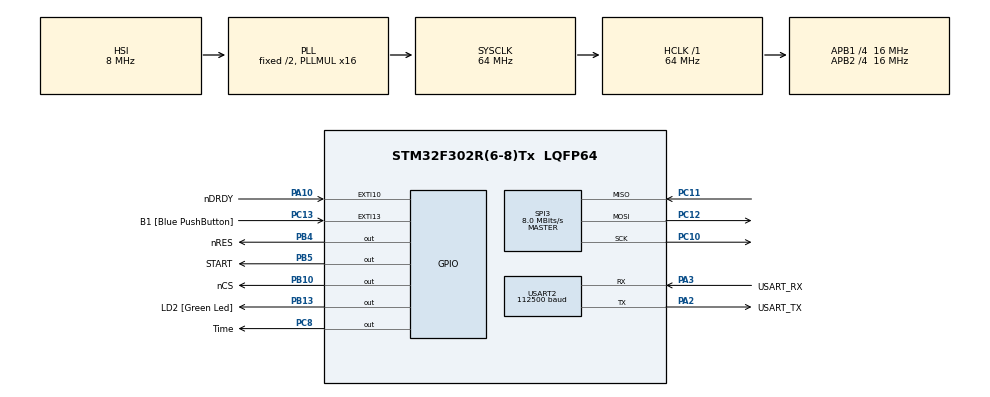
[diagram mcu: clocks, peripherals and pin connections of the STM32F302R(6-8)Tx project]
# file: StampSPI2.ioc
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FREERTOS.Tasks01=defaultTask,24,128,StartDefaultTask,Default,NULL,Dynamic,NULL,NULL
Mcu.Family=STM32F3
Mcu.Name=STM32F302R(6-8)Tx
Mcu.Package=LQFP64
NVIC.EXTI15_10_IRQn=true\:5\:0\:false\:false\:true\:true\:true\:true
NVIC.PriorityGroup=NVIC_PRIORITYGROUP_4
NVIC.SPI3_IRQn=true\:5\:0\:false\:false\:true\:true\:true\:true
NVIC.TIM1_UP_TIM16_IRQn=true\:0\:0\:false\:false\:true\:false\:false\:true
NVIC.TimeBase=TIM1_UP_TIM16_IRQn
NVIC.TimeBaseIP=TIM1
NVIC.USART2_IRQn=true\:5\:0\:false\:false\:true\:true\:true\:true
PA10.GPIO_Label=nDRDY
PA10.GPIO_ModeDefaultEXTI=GPIO_MODE_IT_FALLING
PA10.Signal=GPXTI10
PA13.GPIO_Label=TMS
PA13.Mode=Serial_Wire
PA13.Signal=SYS_JTMS-SWDIO
PA14.GPIO_Label=TCK
PA14.Mode=Serial_Wire
PA14.Signal=SYS_JTCK-SWCLK
PA2.GPIO_Label=USART_TX
PA2.GPIO_Mode=GPIO_MODE_AF_PP
PA2.GPIO_PuPd=GPIO_NOPULL
PA2.GPIO_Speed=GPIO_SPEED_FREQ_HIGH
PA2.Mode=Asynchronous
PA2.Signal=USART2_TX
PA3.GPIO_Label=USART_RX
PA3.GPIO_Mode=GPIO_MODE_AF_PP
PA3.GPIO_PuPd=GPIO_NOPULL
PA3.GPIO_Speed=GPIO_SPEED_FREQ_HIGH
PA3.Mode=Asynchronous
PA3.Signal=USART2_RX
PB10.GPIO_Label=nCS
PB10.GPIO_Speed=GPIO_SPEED_FREQ_HIGH
PB10.Signal=GPIO_Output
PB13.GPIO_Label=LD2 [Green Led]
PB13.Signal=GPIO_Output
PB3.GPIO_Label=SWO
PB3.Mode=Trace_Asynchronous_SW
PB3.Signal=SYS_JTDO-TRACESWO
PB4.GPIO_Label=nRES
PB4.GPIO_Speed=GPIO_SPEED_FREQ_HIGH
PB4.Signal=GPIO_Output
PB5.GPIO_Label=START
PB5.GPIO_Speed=GPIO_SPEED_FREQ_HIGH
PB5.Signal=GPIO_Output
PC10.Mode=Full_Duplex_Master
PC10.Signal=SPI3_SCK
PC11.Mode=Full_Duplex_Master
PC11.Signal=SPI3_MISO
PC12.Mode=Full_Duplex_Master
PC12.Signal=SPI3_MOSI
PC13.GPIO_Label=B1 [Blue PushButton]
PC13.GPIO_ModeDefaultEXTI=GPIO_MODE_IT_FALLING
PC13.Signal=GPXTI13
PC14\ -\ OSC32_IN.Mode=LSE-External-Oscillator
PC14\ -\ OSC32_IN.Signal=RCC_OSC32_IN
PC15\ -\ OSC32_OUT.Mode=LSE-External-Oscillator
PC15\ -\ OSC32_OUT.Signal=RCC_OSC32_OUT
PC8.GPIO_Label=Time
PC8.GPIO_Speed=GPIO_SPEED_FREQ_HIGH
PC8.Signal=GPIO_Output
PF0-OSC_IN.Mode=HSE-External-Clock-Source
PF0-OSC_IN.Signal=RCC_OSC_IN
PF1-OSC_OUT.Signal=RCC_OSC_OUT
ProjectManager.HeapSize=0x200
ProjectManager.StackSize=0x400
ProjectManager.TargetToolchain=STM32CubeIDE
RCC.AHBFreq_Value=64000000
RCC.APB1CLKDivider=RCC_HCLK_DIV4
RCC.APB1Freq_Value=16000000
RCC.APB1TimFreq_Value=32000000
RCC.APB2CLKDivider=RCC_HCLK_DIV4
RCC.APB2Freq_Value=16000000
RCC.APB2TimFreq_Value=32000000
RCC.CortexFreq_Value=64000000
RCC.HCLKFreq_Value=64000000
RCC.HSE_VALUE=8000000
RCC.HSI_VALUE=8000000
RCC.PLLM=8
RCC.PLLMUL=RCC_PLL_MUL16
RCC.PLLN=336
RCC.PLLP=RCC_PLLP_DIV4
RCC.PLLQ=7
RCC.RCC_PLLsource_Clock_Source_FROM_HSE=RCC_HSE_PREDIV_DIV2
RCC.SYSCLKFreq_VALUE=64000000
RCC.SYSCLKSourceVirtual=RCC_SYSCLKSOURCE_PLLCLK
RCC.USBFreq_Value=64000000
SPI3.BaudRatePrescaler=SPI_BAUDRATEPRESCALER_2
SPI3.CLKPolarity=SPI_POLARITY_HIGH
SPI3.CalculateBaudRate=8.0 MBits/s
SPI3.DataSize=SPI_DATASIZE_8BIT
SPI3.Direction=SPI_DIRECTION_2LINES
SPI3.Mode=SPI_MODE_MASTER
SPI3.VirtualType=VM_MASTER
USART2.BaudRate=112500
USART2.Parity=PARITY_NONE
USART2.VirtualMode-Asynchronous=VM_ASYNC
VP_FREERTOS_VS_CMSIS_V2.Mode=CMSIS_V2
VP_SYS_VS_tim1.Mode=TIM1
board=NUCLEO-F302R8

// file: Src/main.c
/* USER CODE BEGIN Header */
/**
  ******************************************************************************
  * @file           : main.c
  * @brief          : Main program body
  ******************************************************************************
  * @attention
  *
  * <h2><center>&copy; Copyright (c) 2020 STMicroelectronics.
  * All rights reserved.</center></h2>
  *
  * This software component is licensed by ST under Ultimate Liberty license
  * SLA0044, the "License"; You may not use this file except in compliance with
  * the License. You may obtain a copy of the License at:
  *                             www.st.com/SLA0044
  *
  ******************************************************************************
  */
/* USER CODE END Header */

#include "main.h"
#include "cmsis_os.h"
#include "spi.h"
#include "usart.h"
#include "gpio.h"

/* USER CODE BEGIN Includes */
#include "ADC.h"
/* USER CODE END Includes */

/* USER CODE BEGIN PV */
//Commands

uint8_t transmitdata[3] = {0x12, 0xff, 0xff};// READ DATA Befehlssatz und 16 SCLK's
uint16_t result[1024] = {0};//FANGVARIABLE

/*Defined output buffer memcpy result to outputbuffer and transmit it*/
uint16_t outputBuffer[1024] = {0};

int i = 0;
uint8_t registervalue[6]={9,9,9,9,9,9}; //ERGEBNIS des Registers

uint16_t buffer[1] = {0};

extern UART_HandleTypeDef huart2;
/* USER CODE END PV */

void SystemClock_Config(void);
void MX_FREERTOS_Init(void);

int main(void)
{

  /* MCU Configuration--------------------------------------------------------*/

  /* Reset of all peripherals, Initializes the Flash interface and the Systick. */
  HAL_Init();

  /* Configure the system clock */
  SystemClock_Config();

  /* Initialize all configured peripherals */
  MX_GPIO_Init();
  MX_SPI3_Init();
  MX_USART2_UART_Init();

  /* Init scheduler */
  osKernelInitialize();  /* Call init function for freertos objects (in freertos.c) */
  MX_FREERTOS_Init();
  /* Start scheduler */
  osKernelStart();

  /* We should never get here as control is now taken by the scheduler */
  /* Infinite loop */
  while (1)
  {
	  HAL_UART_Transmit_IT(&huart2, (uint8_t*)"HALLO WELT!", 11);
  }
}

void SystemClock_Config(void)
{
  RCC_OscInitTypeDef RCC_OscInitStruct = {0};
  RCC_ClkInitTypeDef RCC_ClkInitStruct = {0};

  /** Initializes the CPU, AHB and APB busses clocks
  */
  RCC_OscInitStruct.OscillatorType = RCC_OSCILLATORTYPE_HSI;
  RCC_OscInitStruct.HSIState = RCC_HSI_ON;
  RCC_OscInitStruct.HSICalibrationValue = RCC_HSICALIBRATION_DEFAULT;
  RCC_OscInitStruct.PLL.PLLState = RCC_PLL_ON;
  RCC_OscInitStruct.PLL.PLLSource = RCC_PLLSOURCE_HSI;
  RCC_OscInitStruct.PLL.PLLMUL = RCC_PLL_MUL16;
  if (HAL_RCC_OscConfig(&RCC_OscInitStruct) != HAL_OK)
  {
    Error_Handler();
  }
  /** Initializes the CPU, AHB and APB busses clocks
  */
  RCC_ClkInitStruct.ClockType = RCC_CLOCKTYPE_HCLK|RCC_CLOCKTYPE_SYSCLK
                              |RCC_CLOCKTYPE_PCLK1|RCC_CLOCKTYPE_PCLK2;
  RCC_ClkInitStruct.SYSCLKSource = RCC_SYSCLKSOURCE_PLLCLK;
  RCC_ClkInitStruct.AHBCLKDivider = RCC_SYSCLK_DIV1;
  RCC_ClkInitStruct.APB1CLKDivider = RCC_HCLK_DIV4;
  RCC_ClkInitStruct.APB2CLKDivider = RCC_HCLK_DIV4;

  if (HAL_RCC_ClockConfig(&RCC_ClkInitStruct, FLASH_LATENCY_2) != HAL_OK)
  {
    Error_Handler();
  }
}

 /**
  * @brief  Period elapsed callback in non blocking mode
  * @note   This function is called  when TIM1 interrupt took place, inside
  * HAL_TIM_IRQHandler(). It makes a direct call to HAL_IncTick() to increment
  * a global variable "uwTick" used as application time base.
  * @param  htim : TIM handle
  * @retval None
  */
void HAL_TIM_PeriodElapsedCallback(TIM_HandleTypeDef *htim)
{
  if (htim->Instance == TIM1) {
    HAL_IncTick();
  }
}

void Error_Handler(void)
{
}

/************************ (C) COPYRIGHT STMicroelectronics *****END OF FILE****/

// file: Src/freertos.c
/* USER CODE BEGIN Header */
/**
 ******************************************************************************
 * File Name          : freertos.c
 * Description        : Code for freertos applications
 ******************************************************************************
 * @attention
 *
 * <h2><center>&copy; Copyright (c) 2020 STMicroelectronics.
 * All rights reserved.</center></h2>
 *
 * This software component is licensed by ST under Ultimate Liberty license
 * SLA0044, the "License"; You may not use this file except in compliance with
 * the License. You may obtain a copy of the License at:
 *                             www.st.com/SLA0044
 *
 ******************************************************************************
 */
/* USER CODE END Header */

#include "FreeRTOS.h"
#include "task.h"
#include "main.h"
#include "cmsis_os.h"

/* USER CODE BEGIN Includes */
#include "spi.h"
#include "usart.h"
/* USER CODE END Includes */

/* USER CODE BEGIN Variables */
extern uint16_t outputBuffer[1024];

/* USER CODE END Variables */
/* Definitions for defaultTask */
osThreadId_t defaultTaskHandle;
const osThreadAttr_t defaultTask_attributes = {
  .name = "defaultTask",
  .priority = (osPriority_t) osPriorityNormal,
  .stack_size = 128 * 4
};

void StartDefaultTask(void *argument);

void MX_FREERTOS_Init(void); /* (MISRA C 2004 rule 8.1) */

void MX_FREERTOS_Init(void) {

  /* Create the thread(s) */
  /* creation of defaultTask */
  defaultTaskHandle = osThreadNew(StartDefaultTask, NULL, &defaultTask_attributes);

}

void StartDefaultTask(void *argument)
{
  /* USER CODE BEGIN StartDefaultTask */
	uint8_t cmd;
	osStatus_t status = { 0 };
	HAL_UART_Receive_IT(&huart2, &cmd, 1);
	init_adc();
	/* Infinite loop */
	for (;;) {
		HAL_GPIO_TogglePin(LD2_GPIO_Port, LD2_Pin);
		status = osThreadFlagsWait(0x1 | 0x2, osFlagsWaitAny, 100);
		if (status != osErrorTimeout) {
			if (status & 0x01) {
				// Outputbuffer transmit
				HAL_UART_Transmit_IT(&huart2, (uint8_t) outputBuffer, 2048);
			} else if (status & 0x2) {
				// CMD from UART
				HAL_UART_Receive_IT(&huart2, &cmd, 1);
			}

		} else {
			osThreadYield();
		}
	}
  /* USER CODE END StartDefaultTask */
}

/************************ (C) COPYRIGHT STMicroelectronics *****END OF FILE****/
